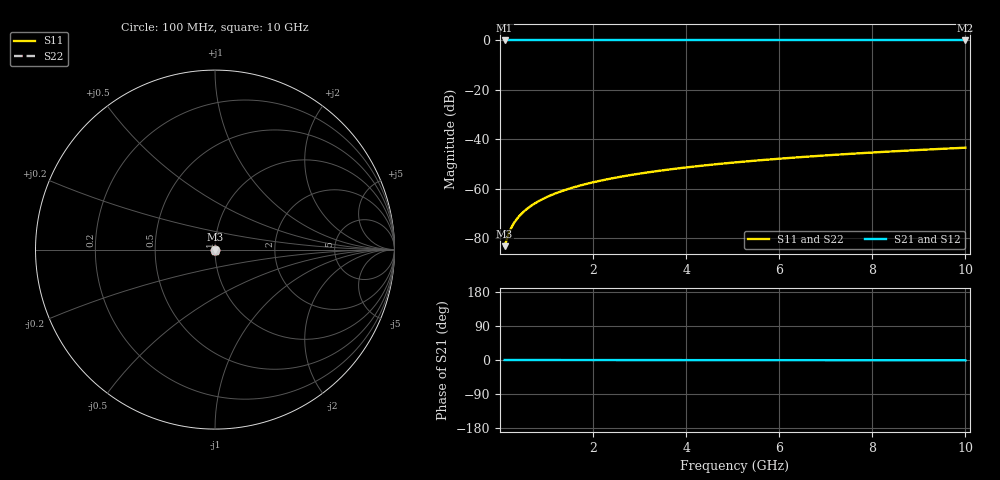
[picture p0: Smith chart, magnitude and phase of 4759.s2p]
# Hz S RI R 50.00
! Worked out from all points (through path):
!   100 points, 100 MHz to 10 GHz, reference 50 ohm
!   highest |S21| = 0.00 dB at 100 MHz (marker M1); lowest = 0.0 dB at 10 GHz (marker M2)
!   lowest |S11| = -83.3 dB at 100 MHz (marker M3), VSWR 1.00, Z = 50 - j0.00668 ohm
!   |S11| at or under -10 dB: start of sweep to end of sweep
!   |S22| runs from -83.3 to -43.5 dB; largest |S21 - S12| = 0
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1e8  1.29e-05 -6.68e-05  1 -0.000112  1 -0.000112  1.29e-05 -6.68e-05
2e8  1.29e-05 -0.000134  1 -0.000224  1 -0.000224  1.29e-05 -0.000134
3e8  1.28e-05 -0.0002  1 -0.000336  1 -0.000336  1.28e-05 -0.0002
4e8  1.28e-05 -0.000267  1 -0.000448  1 -0.000448  1.28e-05 -0.000267
5e8  1.27e-05 -0.000334  1 -0.00056  1 -0.00056  1.27e-05 -0.000334
6e8  1.25e-05 -0.000401  1 -0.000671  1 -0.000671  1.25e-05 -0.000401
7e8  1.24e-05 -0.000467  1 -0.000783  1 -0.000783  1.24e-05 -0.000467
9e8  1.2e-05 -0.000601  1 -0.00101  1 -0.00101  1.2e-05 -0.000601
1e9  1.18e-05 -0.000668  1 -0.00112  1 -0.00112  1.18e-05 -0.000668
1.2e9  1.14e-05 -0.000802  1 -0.00134  1 -0.00134  1.14e-05 -0.000802
1.5e9  1.06e-05 -0.001  1 -0.00168  1 -0.00168  1.06e-05 -0.001
1.8e9  9.7e-06 -0.0012  1 -0.00202  1 -0.00202  9.7e-06 -0.0012
2.1e9  8.64e-06 -0.0014  1 -0.00235  1 -0.00235  8.64e-06 -0.0014
2.5e9  7e-06 -0.00167  1 -0.0028  1 -0.0028  7e-06 -0.00167
2.9e9  5.12e-06 -0.00194  1 -0.00325  1 -0.00325  5.12e-06 -0.00194
3.4e9  2.43e-06 -0.00227  1 -0.00381  1 -0.00381  2.43e-06 -0.00227
4.2e9  -2.66e-06 -0.00281  1 -0.00471  1 -0.00471  -2.66e-06 -0.00281
5.1e9  -9.56e-06 -0.00341  1 -0.00572  1 -0.00572  -9.56e-06 -0.00341
5.9e9  -1.67e-05 -0.00395  0.9999 -0.00662  0.9999 -0.00662  -1.67e-05 -0.00395
6.7e9  -2.49e-05 -0.00449  0.9999 -0.00752  0.9999 -0.00752  -2.49e-05 -0.00449
8.4e9  -4.55e-05 -0.00564  0.9999 -0.00944  0.9999 -0.00944  -4.55e-05 -0.00564
1e10  -6.89e-05 -0.00672  0.9999 -0.0113  0.9999 -0.0113  -6.89e-05 -0.00672
